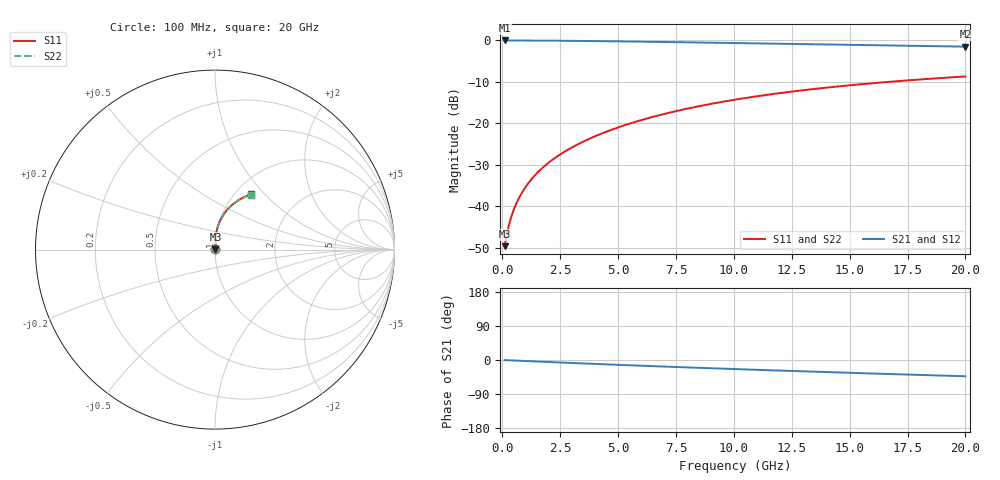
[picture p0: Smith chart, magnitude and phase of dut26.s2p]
! Touchstone file exported from HFSS 2024.1.0
!  File:  C:/UserFiles/LocalFiles/RDL_TSV_Batchsim/temp_RDL_bottom_26_1778691923.aedt
!  Generated:  01:08:06 AM May 14, 2026
!  Design:  RDL_bottom
!  Project:  temp_RDL_bottom_26_1778691923
!  Setup:  Setup1
!  Solution:  Sweep
! Variables:
!  dtsv = 10.80580581um
!  hbump = 3um
!  htsv = 84.31um
!  ldown = 597.89um
!  lrdl = 100um
!  p = 40
!  p1 = 56.9um
!  rhole = 1um
!  t = 450um
!  tdown = 3.21um
!  trdl = 3.915915916um
!  wdown = 26.65um
!  wrdl = 20um
# GHz S MA R 50.000000
! Terminal data exported
! Port[1] = RDL1_T1
! Port[2] = RDL1_T2
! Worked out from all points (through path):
!   200 points, 100 MHz to 20 GHz, reference 50 ohm
!   highest |S21| = -0.02 dB at 100 MHz (marker M1); lowest = -1.5 dB at 20 GHz (marker M2)
!   group delay of S21, straight-line fit = 5.9 ps
!   lowest |S11| = -49.6 dB at 100 MHz (marker M3), VSWR 1.01, Z = 50.3 + j0.188 ohm
!   |S11| at or under -10 dB: start of sweep to 16.69 GHz
!   |S22| runs from -49.6 to -8.7 dB; largest |S21 - S12| = 2.6e-15
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0.1  0.00331 34.3  0.9973 -0.3  0.9973 -0.3  0.00331 34.3
! Gamma 0 0 0 0
! Port Impedance 50 0 50 0
0.2  0.00465 51.7  0.9971 -0.6  0.9971 -0.6  0.00465 51.7
0.3  0.006142 60.4  0.9968 -0.8  0.9968 -0.8  0.006142 60.4
0.4  0.007657 65.6  0.9966 -1.1  0.9966 -1.1  0.007657 65.6
0.5  0.00918 69.3  0.9964 -1.4  0.9964 -1.4  0.00918 69.3
0.6  0.01072 72.0  0.9962 -1.6  0.9962 -1.6  0.01072 72.0
0.8  0.01383 75.9  0.9958 -2.1  0.9958 -2.1  0.01383 75.9
1.1  0.01861 79.5  0.9951 -2.9  0.9951 -2.9  0.01861 79.5
1.3  0.02186 81.1  0.9945 -3.5  0.9945 -3.5  0.02186 81.1
1.6  0.02681 82.8  0.9936 -4.2  0.9936 -4.2  0.02681 82.8
2.1  0.03527 84.6  0.9916 -5.5  0.9916 -5.5  0.03527 84.6
2.7  0.04576 85.8  0.9886 -7.1  0.9886 -7.1  0.04575 85.7
3.5  0.06032 86.3  0.9837 -9.1  0.9837 -9.1  0.06029 86.3
4.2  0.07357 86.3  0.9789 -10.8  0.9789 -10.8  0.07352 86.2
5  0.08922 85.7  0.9727 -12.8  0.9727 -12.8  0.08915 85.7
6.8  0.1258 83.3  0.9575 -16.9  0.9575 -16.9  0.1257 83.3
8.4  0.159 80.4  0.9433 -20.5  0.9433 -20.5  0.1588 80.4
10.1  0.1939 76.9  0.9279 -24.1  0.9279 -24.1  0.1936 76.9
11.7  0.2258 73.6  0.9134 -27.4  0.9134 -27.4  0.2255 73.5
13.4  0.2583 69.9  0.898 -30.7  0.898 -30.7  0.258 69.9
16.7  0.3164 63.1  0.8685 -37.0  0.8685 -37.0  0.3159 63.1
20  0.3672 56.8  0.8397 -43.0  0.8397 -43.0  0.3666 56.7
